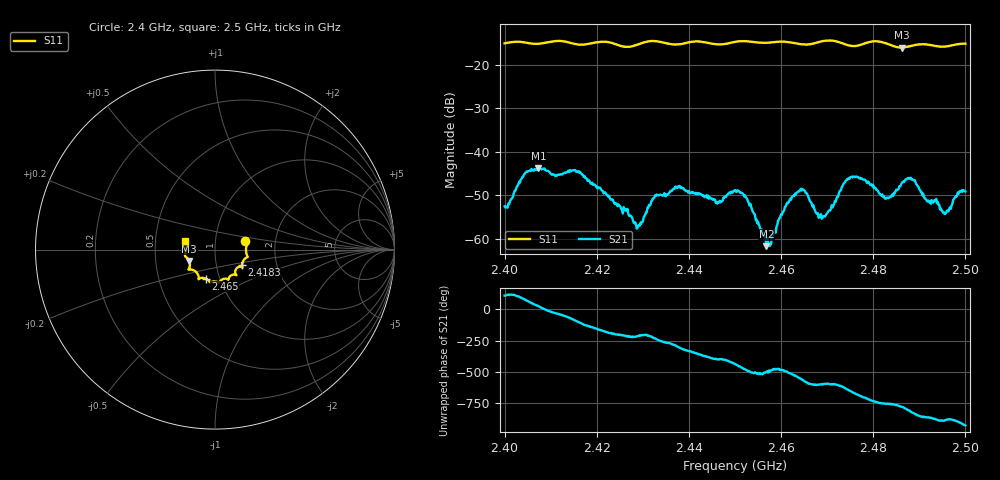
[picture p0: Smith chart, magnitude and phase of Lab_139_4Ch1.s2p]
# Hz S RI R 50
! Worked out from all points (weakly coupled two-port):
!   601 points, 2.4 GHz to 2.5 GHz, reference 50 ohm
!   highest |S21| = -43.79 dB at 2.4073 GHz (marker M1); lowest = -61.6 dB at 2.4568 GHz (marker M2)
!   lowest |S11| = -16.1 dB at 2.4862 GHz (marker M3), VSWR 1.37, Z = 37.2 - j4.79 ohm
!   |S11| at or under -10 dB: start of sweep to end of sweep
!   S12 and S22 are empty: the file has one direction only
!   S11 on the Smith chart (normalised r, x): 2.4 GHz: 1.40, +0.13; 2.4183 GHz: 1.33, -0.24; 2.465 GHz: 0.86, -0.28; 2.5 GHz: 0.71, +0.07
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2.4e9  0.1688 0.0466  -0.000784 0.00224  0 0  0 0
2.404333e9  0.1777 0.0251  0.00104 0.00545  0 0  0 0
2.407333e9  0.1729 -0.00777  0.00583 0.0028  0 0  0 0
2.416667e9  0.1547 -0.0679  -0.00222 -0.00517  0 0  0 0
2.418333e9  0.1498 -0.0869  -0.00331 -0.00331  0 0  0 0
2.428833e9  0.112 -0.1271  -0.00109 0.000777  0 0  0 0
2.433333e9  0.1177 -0.1412  -0.00129 0.00288  0 0  0 0
2.438167e9  0.0815 -0.1507  0.00246 0.00294  0 0  0 0
2.446333e9  0.0505 -0.1627  0.00201 -0.00172  0 0  0 0
2.45e9  0.0258 -0.1802  0.000732 -0.00357  0 0  0 0
2.452333e9  0.0207 -0.1842  -0.00169 -0.00252  0 0  0 0
2.456833e9  -0.00817 -0.1774  -0.000623 -0.000547  0 0  0 0
2.461833e9  -0.0314 -0.1776  -0.00244 -0.00134  0 0  0 0
2.465e9  -0.0525 -0.1612  -0.00295 0.0021  0 0  0 0
2.466667e9  -0.0713 -0.1572  -0.00119 0.00222  0 0  0 0
2.469333e9  -0.0901 -0.1634  -0.000986 0.00154  0 0  0 0
2.475833e9  -0.1084 -0.1215  0.0034 0.00391  0 0  0 0
2.483333e9  -0.1411 -0.0964  0.00234 -0.0018  0 0  0 0
2.486167e9  -0.1433 -0.0628  0.00216 -0.00379  0 0  0 0
2.4885e9  -0.1595 -0.0433  -0.00144 -0.00462  0 0  0 0
2.495333e9  -0.1601 0.00795  -0.002 -0.000343  0 0  0 0
2.5e9  -0.167 0.047  -0.00303 0.00178  0 0  0 0
